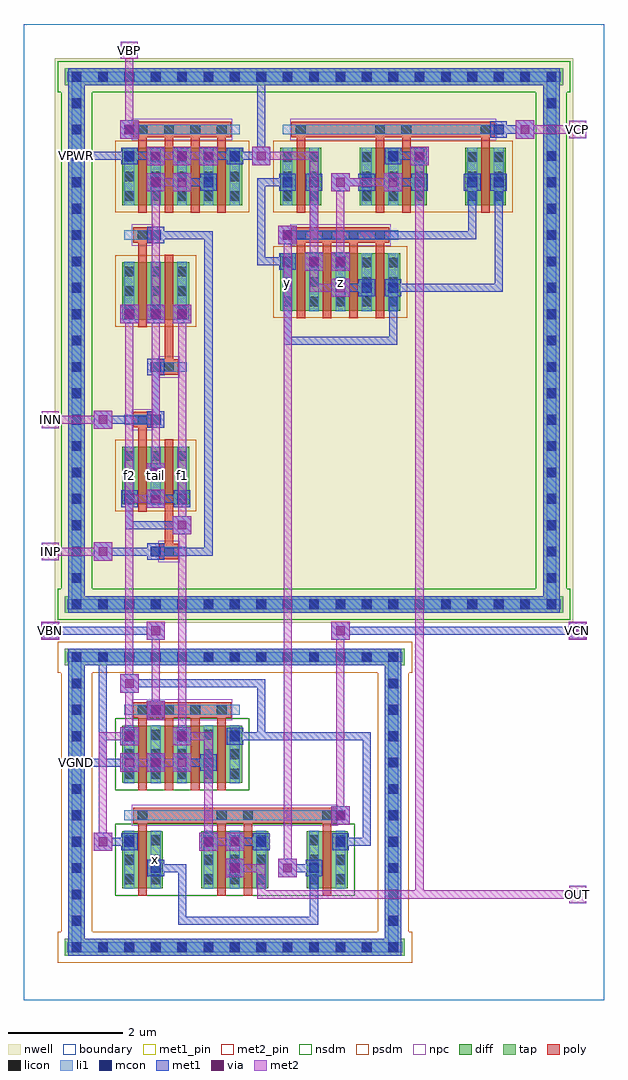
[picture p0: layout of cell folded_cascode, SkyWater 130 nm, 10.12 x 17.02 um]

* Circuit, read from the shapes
.subckt folded_cascode INN INP OUT VBN VBP VCN VCP VGND VPWR f1 f2 tail x y z
XM1 x VCN f1 VGND sky130_fd_pr__nfet_01v8 w=1 l=0.15 m=2
XM2 VGND VBN f1 VGND sky130_fd_pr__nfet_01v8 w=1 l=0.15 m=2
XM3 f2 VBN VGND VGND sky130_fd_pr__nfet_01v8 w=1 l=0.15 m=2
XM4 OUT VCN f2 VGND sky130_fd_pr__nfet_01v8 w=1 l=0.15 m=2
XM5 tail INN f2 VPWR sky130_fd_pr__pfet_01v8 w=1 l=0.15 m=2
XM6 tail INP f1 VPWR sky130_fd_pr__pfet_01v8 w=1 l=0.15 m=2
XM7 tail VBP VPWR VPWR sky130_fd_pr__pfet_01v8 w=1 l=0.15 m=4
XM8 VPWR x y VPWR sky130_fd_pr__pfet_01v8 w=1 l=0.15 m=2
XM9 x VCP y VPWR sky130_fd_pr__pfet_01v8 w=1 l=0.15 m=2
XM10 z x VPWR VPWR sky130_fd_pr__pfet_01v8 w=1 l=0.15 m=2
XM11 OUT VCP z VPWR sky130_fd_pr__pfet_01v8 w=1 l=0.15 m=2
.ends

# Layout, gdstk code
import gdstk
lib = gdstk.Library(unit=1e-6, precision=1e-09)
def R(c, l, rs):  # rectangles x0, y0, x1, y1
    for r in rs: c.add(gdstk.rectangle(r[:2], r[2:], *l))
def A(c, l, x, y, w, h, nx, ny, dx, dy):  # array of equal rectangles
    R(c, l, [(x+i*dx, y+j*dy, x+i*dx+w, y+j*dy+h) for i in range(nx) for j in range(ny)])
nwell = (64, 20)
diff = (65, 20)
tap = (65, 44)
poly = (66, 20)
licon = (66, 44)
li1 = (67, 20)
mcon = (67, 44)
met1_pin = (68, 16)
met1 = (68, 20)
via = (68, 44)
met2_pin = (69, 16)
met2 = (69, 20)
nsdm = (93, 44)
psdm = (94, 20)
npc = (95, 20)
boundary = (235, 4)

folded_cascode = lib.new_cell('folded_cascode')
R(folded_cascode, nwell, [(0.535,6.575,9.585,16.425)])
R(folded_cascode, diff, [(1.715,1.945,2.425,2.945), (3.095,1.945,4.265,2.945), (4.935,1.945,5.645,2.945), (1.715,3.785,3.805,4.785), (1.715,8.645,2.885,9.645), (1.715,11.865,2.885,12.865), (4.475,12.02,6.565,13.02), (1.715,13.86,3.805,14.86), (4.475,13.86,5.185,14.86), (5.855,13.86,7.025,14.86), (7.695,13.86,8.405,14.86)])
R(folded_cascode, tap, [(0.715,0.775,6.645,1.065), (0.775,0.775,1.065,6.125), (6.295,0.775,6.585,6.125), (0.715,5.835,6.645,6.125), (0.715,6.755,9.405,7.045), (0.775,6.755,1.065,16.245), (9.055,6.755,9.345,16.245), (0.715,15.955,9.405,16.245)])
A(folded_cascode, poly, 1.995, 3.655, 0.15, 1.405, 4, 1, 0.46, 0)
A(folded_cascode, poly, 4.755, 11.89, 0.15, 1.45, 4, 1, 0.46, 0)
A(folded_cascode, poly, 1.995, 13.73, 0.15, 1.45, 4, 1, 0.46, 0)
R(folded_cascode, poly, [(1.995,1.815,2.145,3.22), (3.375,1.815,3.525,3.22), (3.835,1.815,3.985,3.22), (5.215,1.815,5.365,3.22), (1.905,3.085,5.455,3.355), (1.905,4.925,3.615,5.195), (2.365,7.685,2.695,7.955), (2.455,7.82,2.605,9.775), (1.995,8.515,2.145,10.12), (1.905,9.985,2.235,10.255), (2.365,10.905,2.695,11.175), (2.455,11.04,2.605,12.995), (1.995,11.735,2.145,13.34), (1.905,13.205,2.235,13.475), (4.665,13.205,6.375,13.475), (4.755,13.73,4.905,15.18), (6.135,13.73,6.285,15.18), (6.595,13.73,6.745,15.18), (7.975,13.73,8.125,15.18), (1.905,15.045,3.615,15.315), (4.665,15.045,8.215,15.315)])
A(folded_cascode, licon, 0.835, 0.835, 0.17, 0.17, 13, 2, 0.46, 5.06)
A(folded_cascode, licon, 0.835, 1.295, 0.17, 0.17, 1, 10, 0, 0.46)
A(folded_cascode, licon, 6.355, 1.295, 0.17, 0.17, 1, 10, 0, 0.46)
A(folded_cascode, licon, 1.755, 2.02, 0.17, 0.17, 1, 3, 0, 0.34)
A(folded_cascode, licon, 2.215, 2.02, 0.17, 0.17, 1, 3, 0, 0.34)
A(folded_cascode, licon, 3.135, 2.02, 0.17, 0.17, 3, 3, 0.46, 0.34)
A(folded_cascode, licon, 4.975, 2.02, 0.17, 0.17, 1, 3, 0, 0.34)
A(folded_cascode, licon, 5.435, 2.02, 0.17, 0.17, 1, 3, 0, 0.34)
A(folded_cascode, licon, 1.755, 3.86, 0.17, 0.17, 5, 3, 0.46, 0.34)
A(folded_cascode, licon, 1.985, 4.975, 0.17, 0.17, 4, 2, 0.46, 10.12)
A(folded_cascode, licon, 0.835, 6.815, 0.17, 0.17, 19, 2, 0.46, 9.2)
A(folded_cascode, licon, 0.835, 7.275, 0.17, 0.17, 1, 19, 0, 0.46)
A(folded_cascode, licon, 9.115, 7.275, 0.17, 0.17, 1, 19, 0, 0.46)
A(folded_cascode, licon, 1.755, 8.72, 0.17, 0.17, 3, 3, 0.46, 0.34)
A(folded_cascode, licon, 1.755, 11.94, 0.17, 0.17, 3, 3, 0.46, 0.34)
A(folded_cascode, licon, 4.515, 12.095, 0.17, 0.17, 5, 3, 0.46, 0.34)
A(folded_cascode, licon, 4.745, 13.255, 0.17, 0.17, 4, 1, 0.46, 0)
A(folded_cascode, licon, 1.755, 13.935, 0.17, 0.17, 5, 3, 0.46, 0.34)
A(folded_cascode, licon, 4.515, 13.935, 0.17, 0.17, 1, 3, 0, 0.34)
A(folded_cascode, licon, 4.975, 13.935, 0.17, 0.17, 1, 3, 0, 0.34)
A(folded_cascode, licon, 5.895, 13.935, 0.17, 0.17, 3, 3, 0.46, 0.34)
A(folded_cascode, licon, 7.735, 13.935, 0.17, 0.17, 1, 3, 0, 0.34)
A(folded_cascode, licon, 8.195, 13.935, 0.17, 0.17, 1, 3, 0, 0.34)
R(folded_cascode, licon, [(1.985,3.135,2.155,3.305), (3.365,3.135,3.535,3.305), (3.825,3.135,3.995,3.305), (5.205,3.135,5.375,3.305), (2.445,7.735,2.615,7.905), (1.985,10.035,2.155,10.205), (2.445,10.955,2.615,11.125), (1.985,13.255,2.155,13.425), (4.745,15.095,4.915,15.265), (6.125,15.095,6.295,15.265), (6.585,15.095,6.755,15.265), (7.965,15.095,8.135,15.265)])
A(folded_cascode, li1, 3.135, 1.94, 0.17, 1.01, 3, 1, 0.46, 0)
A(folded_cascode, li1, 1.755, 3.78, 0.17, 1.01, 5, 2, 0.46, 10.075)
A(folded_cascode, li1, 1.755, 8.64, 0.17, 1.01, 3, 2, 0.46, 3.22)
A(folded_cascode, li1, 4.515, 12.015, 0.17, 1.01, 5, 1, 0.46, 0)
A(folded_cascode, li1, 5.895, 13.855, 0.17, 1.01, 3, 1, 0.46, 0)
R(folded_cascode, li1, [(0.755,0.835,6.605,1.005), (0.835,0.835,1.005,6.065), (6.355,0.835,6.525,6.065), (1.755,1.94,1.925,2.95), (2.215,1.94,2.385,2.95), (4.975,1.94,5.145,2.95), (5.435,1.94,5.605,2.95), (1.755,3.135,5.605,3.305), (1.755,4.975,3.765,5.145), (0.755,5.895,6.605,6.065), (0.755,6.815,9.365,6.985), (0.835,6.815,1.005,16.185), (9.115,6.815,9.285,16.185), (2.215,7.735,2.845,7.905), (1.755,10.035,2.385,10.205), (2.215,10.955,2.845,11.125), (1.755,13.255,2.385,13.425), (4.515,13.255,6.525,13.425), (4.515,13.855,4.685,14.865), (4.975,13.855,5.145,14.865), (7.735,13.855,7.905,14.865), (8.195,13.855,8.365,14.865), (1.755,15.095,3.765,15.265), (4.515,15.095,8.365,15.265), (0.755,16.015,9.365,16.185)])
A(folded_cascode, mcon, 0.835, 0.835, 0.17, 0.17, 13, 2, 0.46, 5.06)
A(folded_cascode, mcon, 0.835, 2.215, 0.17, 0.17, 5, 1, 1.38, 0)
A(folded_cascode, mcon, 0.835, 2.675, 0.17, 0.17, 1, 4, 0, 0.46)
A(folded_cascode, mcon, 6.355, 2.675, 0.17, 0.17, 1, 7, 0, 0.46)
A(folded_cascode, mcon, 0.835, 4.515, 0.17, 0.17, 4, 2, 0.92, 10.12)
A(folded_cascode, mcon, 0.835, 6.815, 0.17, 0.17, 19, 2, 0.46, 9.2)
A(folded_cascode, mcon, 0.835, 7.275, 0.17, 0.17, 1, 3, 0, 0.46)
A(folded_cascode, mcon, 9.115, 7.275, 0.17, 0.17, 1, 19, 0, 0.46)
A(folded_cascode, mcon, 0.835, 8.655, 0.17, 0.17, 3, 1, 0.92, 0)
A(folded_cascode, mcon, 0.835, 9.115, 0.17, 0.17, 1, 12, 0, 0.46)
A(folded_cascode, mcon, 2.215, 9.115, 0.17, 0.17, 1, 3, 0, 0.92)
A(folded_cascode, mcon, 1.755, 11.875, 0.17, 0.17, 3, 1, 0.46, 0)
A(folded_cascode, mcon, 4.515, 12.795, 0.17, 0.17, 3, 1, 0.46, 0)
A(folded_cascode, mcon, 4.975, 14.175, 0.17, 0.17, 4, 1, 0.92, 0)
R(folded_cascode, mcon, [(0.835,1.295,1.005,1.465), (6.355,1.295,6.525,1.465), (0.835,1.755,1.005,1.925), (6.355,1.755,6.525,1.925), (1.755,2.675,1.925,2.845), (3.135,2.675,3.305,2.845), (4.055,2.675,4.225,2.845), (5.435,2.675,5.605,2.845), (5.435,3.135,5.605,3.305), (2.215,4.055,2.385,4.225), (3.135,4.055,3.305,4.225), (0.835,4.975,1.005,5.145), (2.215,4.975,2.385,5.145), (0.835,5.435,1.005,5.605), (2.215,7.735,2.385,7.905), (5.895,12.335,6.065,12.505), (6.355,12.335,6.525,12.505), (2.215,13.255,2.385,13.425), (4.515,13.255,4.685,13.425), (2.215,14.175,2.385,14.345), (3.135,14.175,3.305,14.345), (4.515,14.175,4.685,14.345), (8.195,14.175,8.365,14.345), (6.355,14.635,6.525,14.805), (0.835,15.095,1.005,15.265), (1.755,15.095,1.925,15.265), (8.195,15.095,8.365,15.265), (0.835,15.555,1.005,15.725)])
R(folded_cascode, met1_pin, [(0.85,4.07,0.99,4.21), (0.85,14.65,0.99,14.79)])
A(folded_cascode, met1, 2.155, 2.155, 0.29, 0.29, 3, 1, 1.38, 0)
A(folded_cascode, met1, 1.68, 3.98, 0.32, 0.32, 3, 2, 0.46, 7.82)
A(folded_cascode, met1, 1.695, 4.455, 0.29, 0.29, 3, 2, 0.92, 10.12)
A(folded_cascode, met1, 2.155, 9.055, 0.29, 0.29, 1, 3, 0, 0.92)
A(folded_cascode, met1, 1.695, 11.815, 0.29, 0.29, 3, 1, 0.46, 0)
A(folded_cascode, met1, 4.455, 12.735, 0.29, 0.29, 3, 1, 0.46, 0)
A(folded_cascode, met1, 4.915, 14.115, 0.29, 0.29, 4, 1, 0.92, 0)
A(folded_cascode, met1, 2.69, 14.19, 0.6, 0.14, 3, 1, 1.38, 0)
A(folded_cascode, met1, 2.14, 14.56, 0.32, 0.32, 3, 1, 0.46, 0)
R(folded_cascode, met1, [(0.775,0.775,6.585,1.065), (0.775,0.775,1.065,6.125), (6.295,0.775,6.585,6.125), (2.69,1.31,5.13,1.45), (2.69,1.31,2.83,2.37), (4.99,1.31,5.13,2.37), (3.52,2.14,3.84,2.46), (4.44,2.14,4.76,2.46), (2.23,2.23,2.83,2.37), (4.53,2.23,5.13,2.37), (1.22,2.6,1.54,2.92), (3.06,2.6,3.38,2.92), (3.52,2.6,3.84,2.92), (1.695,2.615,1.985,2.905), (3.075,2.615,3.365,2.905), (3.995,2.615,4.285,2.905), (5.375,2.615,5.665,2.905), (1.31,2.69,1.91,2.83), (3.61,2.69,4.21,2.83), (5.45,2.69,6.05,2.83), (5.91,2.69,6.05,4.67), (5.36,3.06,5.68,3.38), (5.375,3.075,5.665,3.365), (2.155,3.995,2.445,4.285), (3.075,3.995,3.365,4.285), (0.85,4.07,0.99,4.21), (0.85,4.07,1.91,4.21), (1.31,4.07,1.45,6.05), (2.69,4.07,3.29,4.21), (1.68,4.44,2,4.76), (2.6,4.44,2.92,4.76), (3.61,4.53,4.21,4.67), (4.07,4.53,6.05,4.67), (4.07,4.53,4.21,5.59), (2.14,4.9,2.46,5.22), (2.155,4.915,2.445,5.205), (1.68,5.36,2,5.68), (1.77,5.45,4.21,5.59), (0.775,5.835,6.585,6.125), (1.31,5.91,1.45,6.05), (0.3,6.28,0.62,6.6), (2.14,6.28,2.46,6.6), (5.36,6.28,5.68,6.6), (9.5,6.28,9.82,6.6), (0.39,6.37,2.37,6.51), (5.45,6.37,9.73,6.51), (0.775,6.755,9.345,7.045), (0.775,6.755,1.065,16.245), (9.055,6.755,9.345,16.245), (1.22,7.66,1.54,7.98), (2.155,7.675,2.445,7.965), (1.31,7.75,2.37,7.89), (2.23,7.75,3.29,7.89), (3.15,7.75,3.29,13.41), (2.6,8.12,2.92,8.44), (1.77,8.21,1.91,8.81), (1.77,8.21,2.83,8.35), (2.14,8.58,2.46,8.9), (1.695,8.595,1.985,8.885), (2.615,8.595,2.905,8.885), (2.23,8.67,2.83,8.81), (2.14,9.04,2.46,9.36), (1.22,9.96,1.54,10.28), (1.31,10.05,2.37,10.19), (2.23,10.05,2.37,11.11), (4.53,11.43,6.51,11.57), (4.53,11.43,4.67,12.95), (6.37,11.43,6.51,12.49), (5.36,12.26,5.68,12.58), (5.835,12.275,6.125,12.565), (6.295,12.275,6.585,12.565), (5.45,12.35,6.05,12.49), (6.37,12.35,8.35,12.49), (8.21,12.35,8.35,14.33), (4.9,12.72,5.22,13.04), (5.36,12.72,5.68,13.04), (4.07,12.81,4.67,12.95), (4.07,12.81,4.21,14.33), (4.44,13.18,4.76,13.5), (2.155,13.195,2.445,13.485), (4.455,13.195,4.745,13.485), (2.23,13.27,3.29,13.41), (4.53,13.27,5.13,13.41), (4.99,13.27,5.13,14.33), (4.99,13.27,7.89,13.41), (7.75,13.27,7.89,14.33), (2.14,14.1,2.46,14.42), (2.6,14.1,2.92,14.42), (5.36,14.1,5.68,14.42), (6.28,14.1,6.6,14.42), (2.155,14.115,2.445,14.405), (3.075,14.115,3.365,14.405), (4.455,14.115,4.745,14.405), (8.135,14.115,8.425,14.405), (6.37,14.19,6.97,14.33), (3.98,14.56,4.3,14.88), (6.74,14.56,7.06,14.88), (6.295,14.575,6.585,14.865), (0.85,14.65,0.99,14.79), (0.85,14.65,1.91,14.79), (1.77,14.65,2.37,14.79), (3.15,14.65,3.75,14.79), (3.61,14.65,4.21,14.79), (4.07,14.65,4.21,16.17), (6.37,14.65,6.97,14.79), (1.68,15.02,2,15.34), (8.58,15.02,8.9,15.34), (1.695,15.035,1.985,15.325), (8.135,15.035,8.425,15.325), (8.21,15.11,8.81,15.25), (0.775,15.955,9.345,16.245), (4.07,16.03,4.21,16.17)])
A(folded_cascode, via, 1.765, 4.065, 0.15, 0.15, 3, 2, 0.46, 7.82)
A(folded_cascode, via, 2.225, 14.645, 0.15, 0.15, 3, 1, 0.46, 0)
R(folded_cascode, via, [(3.605,2.225,3.755,2.375), (4.525,2.225,4.675,2.375), (1.305,2.685,1.455,2.835), (3.145,2.685,3.295,2.835), (3.605,2.685,3.755,2.835), (5.445,3.145,5.595,3.295), (1.765,4.525,1.915,4.675), (2.685,4.525,2.835,4.675), (2.225,4.985,2.375,5.135), (1.765,5.445,1.915,5.595), (0.385,6.365,0.535,6.515), (2.225,6.365,2.375,6.515), (5.445,6.365,5.595,6.515), (9.585,6.365,9.735,6.515), (1.305,7.745,1.455,7.895), (2.685,8.205,2.835,8.355), (2.225,8.665,2.375,8.815), (2.225,9.125,2.375,9.275), (1.305,10.045,1.455,10.195), (5.445,12.345,5.595,12.495), (4.985,12.805,5.135,12.955), (5.445,12.805,5.595,12.955), (4.525,13.265,4.675,13.415), (2.225,14.185,2.375,14.335), (2.685,14.185,2.835,14.335), (5.445,14.185,5.595,14.335), (6.365,14.185,6.515,14.335), (4.065,14.645,4.215,14.795), (6.825,14.645,6.975,14.795), (1.765,15.105,1.915,15.255), (8.665,15.105,8.815,15.255)])
R(folded_cascode, met2_pin, [(9.51,1.69,9.81,1.99), (0.31,6.29,0.61,6.59), (9.51,6.29,9.81,6.59), (0.31,7.67,0.61,7.97), (0.31,9.97,0.61,10.27), (9.51,15.03,9.81,15.33), (1.69,16.41,1.99,16.71)])
A(folded_cascode, met2, 1.68, 3.98, 0.32, 0.32, 3, 2, 0.46, 7.82)
A(folded_cascode, met2, 2.14, 14.56, 0.32, 0.32, 3, 1, 0.46, 0)
R(folded_cascode, met2, [(9.51,1.69,9.81,1.99), (4.07,1.77,4.21,2.37), (4.07,1.77,9.73,1.91), (6.83,1.77,6.97,14.79), (9.59,1.77,9.73,1.91), (3.52,2.14,3.84,2.46), (4.44,2.14,4.76,2.46), (3.61,2.23,4.21,2.37), (4.53,2.23,4.67,13.41), (1.22,2.6,1.54,2.92), (3.06,2.6,3.38,2.92), (3.52,2.6,3.84,2.92), (1.31,2.69,1.45,4.67), (3.15,2.69,3.75,2.83), (3.15,2.69,3.29,4.67), (5.36,3.06,5.68,3.38), (5.45,3.15,5.59,6.51), (1.77,4.07,2.37,4.21), (2.23,4.07,2.83,4.21), (1.68,4.44,2,4.76), (2.6,4.44,2.92,4.76), (1.31,4.53,1.91,4.67), (1.77,4.53,1.91,5.59), (2.69,4.53,3.29,4.67), (2.69,4.53,2.83,8.35), (2.14,4.9,2.46,5.22), (2.23,4.99,2.37,6.51), (1.68,5.36,2,5.68), (1.77,5.45,1.91,8.81), (0.3,6.28,0.62,6.6), (2.14,6.28,2.46,6.6), (5.36,6.28,5.68,6.6), (9.5,6.28,9.82,6.6), (0.31,6.29,0.61,6.59), (9.51,6.29,9.81,6.59), (0.39,6.37,0.53,6.51), (9.59,6.37,9.73,6.51), (1.22,7.66,1.54,7.98), (0.31,7.67,0.61,7.97), (0.39,7.75,1.45,7.89), (0.39,7.75,0.53,7.89), (2.6,8.12,2.92,8.44), (2.69,8.21,2.83,12.03), (2.14,8.58,2.46,8.9), (1.77,8.67,2.37,8.81), (1.77,8.67,1.91,12.03), (2.14,9.04,2.46,9.36), (2.23,9.13,2.37,12.03), (1.22,9.96,1.54,10.28), (0.31,9.97,0.61,10.27), (0.39,10.05,1.45,10.19), (0.39,10.05,0.53,10.19), (2.23,11.89,2.37,14.33), (5.36,12.26,5.68,12.58), (4.99,12.35,5.59,12.49), (4.99,12.35,5.13,12.95), (4.9,12.72,5.22,13.04), (5.36,12.72,5.68,13.04), (4.99,12.81,5.13,14.79), (5.45,12.81,5.59,14.33), (4.44,13.18,4.76,13.5), (2.14,14.1,2.46,14.42), (2.6,14.1,2.92,14.42), (5.36,14.1,5.68,14.42), (6.28,14.1,6.6,14.42), (2.23,14.19,2.83,14.33), (5.45,14.19,6.51,14.33), (3.98,14.56,4.3,14.88), (6.74,14.56,7.06,14.88), (2.23,14.65,2.83,14.79), (2.69,14.65,3.29,14.79), (4.07,14.65,5.13,14.79), (1.68,15.02,2,15.34), (8.58,15.02,8.9,15.34), (9.51,15.03,9.81,15.33), (1.77,15.11,1.91,16.63), (8.67,15.11,9.73,15.25), (9.59,15.11,9.73,15.25), (1.69,16.41,1.99,16.71), (1.77,16.49,1.91,16.63)])
R(folded_cascode, nsdm, [(1.59,1.82,5.77,3.07), (1.59,3.66,3.93,4.91), (0.59,6.63,9.53,7.17), (0.65,7.17,1.19,15.83), (8.93,7.17,9.47,15.83), (0.59,15.83,9.53,16.37)])
R(folded_cascode, psdm, [(0.59,0.65,6.77,1.19), (0.65,1.19,1.19,5.71), (6.17,1.19,6.71,5.71), (0.59,5.71,6.77,6.25), (1.59,8.52,3.01,9.77), (1.59,11.74,3.01,12.99), (4.35,11.895,6.69,13.145), (1.59,13.735,3.93,14.985), (4.35,13.735,8.53,14.985)])
R(folded_cascode, npc, [(1.885,3.035,5.475,3.405), (1.885,4.875,3.635,5.245), (2.345,7.635,2.715,8.005), (1.885,9.935,2.255,10.305), (2.345,10.855,2.715,11.225), (1.885,13.155,2.255,13.525), (4.645,13.155,6.395,13.525), (1.885,14.995,3.635,15.365), (4.645,14.995,8.235,15.365)])
R(folded_cascode, boundary, [(0,0,10.12,17.02)])
folded_cascode.add(gdstk.Label('f2', (1.84,9.145), layer=67, texttype=5))
folded_cascode.add(gdstk.Label('tail', (2.3,9.145), layer=67, texttype=5))
folded_cascode.add(gdstk.Label('f1', (2.76,9.145), layer=67, texttype=5))
folded_cascode.add(gdstk.Label('x', (2.3,2.445), layer=67, texttype=5))
folded_cascode.add(gdstk.Label('y', (4.6,12.52), layer=67, texttype=5))
folded_cascode.add(gdstk.Label('z', (5.52,12.52), layer=67, texttype=5))
folded_cascode.add(gdstk.Label('VPWR', (0.92,14.72), layer=68, texttype=5))
folded_cascode.add(gdstk.Label('VGND', (0.92,4.14), layer=68, texttype=5))
folded_cascode.add(gdstk.Label('INP', (0.46,7.82), layer=69, texttype=5))
folded_cascode.add(gdstk.Label('INN', (0.46,10.12), layer=69, texttype=5))
folded_cascode.add(gdstk.Label('VBN', (0.46,6.44), layer=69, texttype=5))
folded_cascode.add(gdstk.Label('VCN', (9.66,6.44), layer=69, texttype=5))
folded_cascode.add(gdstk.Label('VBP', (1.84,16.56), layer=69, texttype=5))
folded_cascode.add(gdstk.Label('VCP', (9.66,15.18), layer=69, texttype=5))
folded_cascode.add(gdstk.Label('OUT', (9.66,1.84), layer=69, texttype=5))
folded_cascode.add(gdstk.Label('VPWR', (0.92,14.72), layer=68, texttype=16))
folded_cascode.add(gdstk.Label('VGND', (0.92,4.14), layer=68, texttype=16))
folded_cascode.add(gdstk.Label('INP', (0.46,7.82), layer=69, texttype=16))
folded_cascode.add(gdstk.Label('INN', (0.46,10.12), layer=69, texttype=16))
folded_cascode.add(gdstk.Label('VBN', (0.46,6.44), layer=69, texttype=16))
folded_cascode.add(gdstk.Label('VCN', (9.66,6.44), layer=69, texttype=16))
folded_cascode.add(gdstk.Label('VBP', (1.84,16.56), layer=69, texttype=16))
folded_cascode.add(gdstk.Label('VCP', (9.66,15.18), layer=69, texttype=16))
folded_cascode.add(gdstk.Label('OUT', (9.66,1.84), layer=69, texttype=16))

lib.write_gds('folded_cascode.gds')
